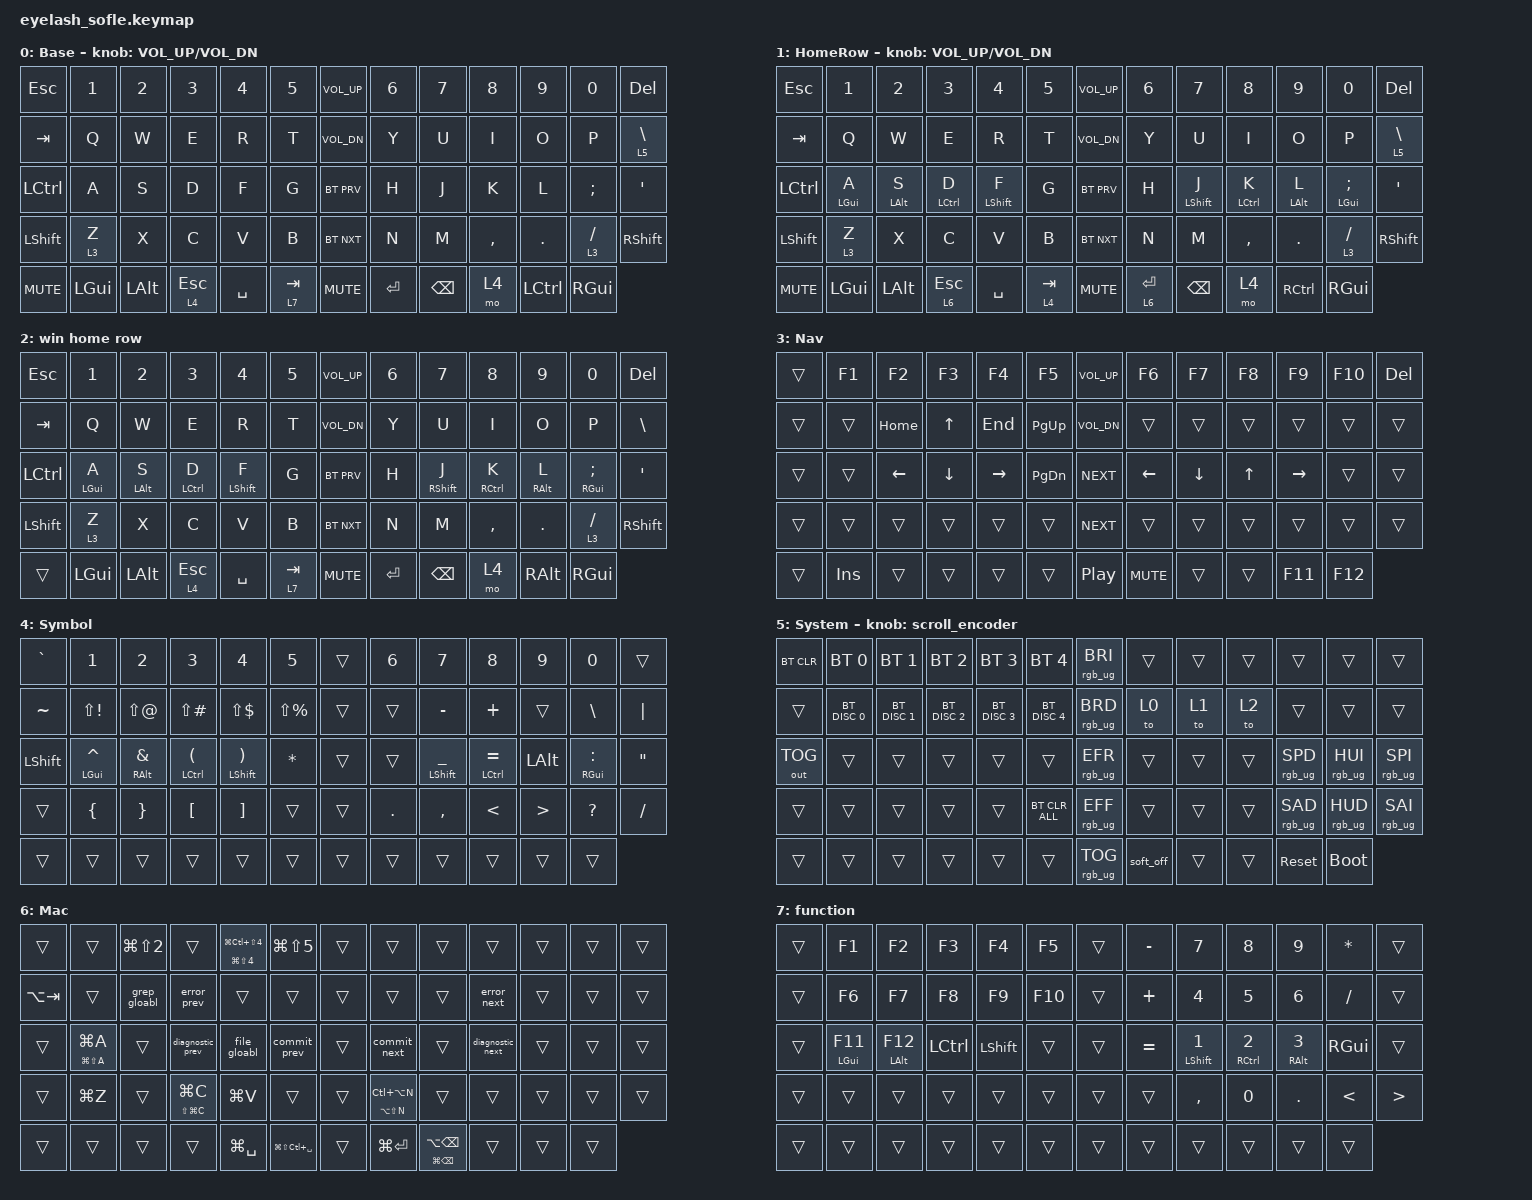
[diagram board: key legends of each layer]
#define ZMK_POINTING_DEFAULT_MOVE_VAL 1200  // 600
#define ZMK_POINTING_DEFAULT_SCRL_VAL 25   // 10

#include <input/processors.dtsi>
#include <zephyr/dt-bindings/input/input-event-codes.h>
#include <behaviors.dtsi>
#include <dt-bindings/zmk/bt.h>
#include <dt-bindings/zmk/keys.h>
#include <dt-bindings/zmk/outputs.h>
#include <dt-bindings/zmk/pointing.h>
#include <dt-bindings/zmk/rgb.h>

&mmv_input_listener { input-processors = <&zip_xy_scaler 2 1>; };

&msc_input_listener { input-processors = <&zip_scroll_scaler 2 1>; };

&msc {
    acceleration-exponent = <1>;      // 0
    time-to-max-speed-ms = <100>;       // 300
    delay-ms = <0>;                   // 0
};

&mmv {
    time-to-max-speed-ms = <500>;
    acceleration-exponent = <1>;
    trigger-period-ms = <16>;
};

&soft_off { hold-time-ms = <2000>; };

&mt { tapping-term-ms = <230>; };

/ {
    scroll_encoder: scroll_encoder {
        compatible = "zmk,behavior-sensor-rotate";
        #sensor-binding-cells = <0>;
        bindings = <&msc SCRL_DOWN>, <&msc SCRL_UP>;

        tap-ms = <100>;
    };

    hml: hml {
        compatible = "zmk,behavior-hold-tap";
        label = "HML";
        bindings = <&kp>, <&kp>;

        #binding-cells = <2>;
        tapping-term-ms = <210>;
        quick-tap-ms = <175>;
        require-prior-idle-ms = <150>;
        flavor = "balanced";
        hold-trigger-key-positions = <27 28 30 29>;
        hold-trigger-on-release;
    };

    hmr: hmr {
        compatible = "zmk,behavior-hold-tap";
        label = "HMR";
        bindings = <&kp>, <&kp>;

        #binding-cells = <2>;
        tapping-term-ms = <210>;
        quick-tap-ms = <175>;
        require-prior-idle-ms = <150>;
        flavor = "balanced";
        hold-trigger-on-release;
        hold-trigger-key-positions = <34 35 36 37>;
    };

    behaviors {
    };

    combos {
        compatible = "zmk,combos";

        caps {
            bindings = <&kp CLCK>;
            key-positions = <14 15 21>;
            layers = <0>;
        };

        lock_symbol {
            bindings = <&tog 4>;
            key-positions = <7 59>;
            layers = <1 4 0 2>;
        };

        sl-func {
            bindings = <&sl 7>;
            key-positions = <17 55>;
            layers = <0 1 2>;
        };

        tog-fn {
            bindings = <&tog 7>;
            key-positions = <8 59>;
            layers = <0 1 2 7>;
        };

        left-parenth {
            bindings = <&kp LEFT_PARENTHESIS>;
            key-positions = <29 30>;
            layers = <1 2>;
        };

        right-parenth {
            bindings = <&kp RIGHT_PARENTHESIS>;
            key-positions = <34 35>;
            layers = <1 2>;
        };

        left-bracket {
            bindings = <&kp LEFT_BRACKET>;
            key-positions = <42 43>;
            layers = <1 2>;
        };

        right-bracket {
            bindings = <&kp RIGHT_BRACKET>;
            key-positions = <47 48>;
            layers = <1 2>;
        };

        left-brace {
            bindings = <&kp LEFT_BRACE>;
            key-positions = <16 17>;
            layers = <1 2>;
        };

        right-brace {
            bindings = <&kp RIGHT_BRACE>;
            key-positions = <21 22>;
            layers = <1 2>;
        };

        minus {
            bindings = <&kp MINUS>;
            key-positions = <18 20>;
            layers = <1 2>;
        };

        plus {
            bindings = <&kp PLUS>;
            key-positions = <31 33>;
            layers = <1 2>;
        };

        underscore {
            bindings = <&kp UNDERSCORE>;
            key-positions = <17 21>;
            layers = <1 2>;
        };

        equal {
            bindings = <&kp EQUAL>;
            key-positions = <30 34>;
            layers = <1 2>;
        };
    };

    macros {
        commit_next: commit_next {
            compatible = "zmk,behavior-macro";
            #binding-cells = <0>;
            bindings = <&kp RBKT &kp H>;
            label = "COMMIT_NEXT";
        };

        commit_prev: commit_prev {
            compatible = "zmk,behavior-macro";
            #binding-cells = <0>;
            bindings = <&kp LBKT &kp H>;
            label = "COMMIT_PREV";
        };

        error_next: error_next {
            compatible = "zmk,behavior-macro";
            #binding-cells = <0>;
            bindings = <&kp RBKT &kp E>;
            label = "ERROR_NEXT";
        };

        error_prev: error_prev {
            compatible = "zmk,behavior-macro";
            #binding-cells = <0>;
            bindings = <&kp LBKT &kp E>;
            label = "ERROR_PREV";
        };

        diagnostic_next: diagnostic_next {
            compatible = "zmk,behavior-macro";
            #binding-cells = <0>;
            bindings = <&kp RBKT &kp D>;
            label = "DIAGNOSTIC_NEXT";
        };

        diagnostic_prev: diagnostic_prev {
            compatible = "zmk,behavior-macro";
            #binding-cells = <0>;
            bindings = <&kp LBKT &kp D>;
            label = "DIAGNOSTIC_PREV";
        };

        file_gloabl: file_gloabl {
            compatible = "zmk,behavior-macro";
            #binding-cells = <0>;
            bindings = <&kp SPACE &kp F &kp LS(F)>;
            label = "FILE_GLOABL";
        };

        grep_gloabl: grep_gloabl {
            compatible = "zmk,behavior-macro";
            #binding-cells = <0>;
            bindings = <&kp SPACE &kp S &kp LS(W)>;
            label = "GREP_GLOABL";
        };
    };

    keymap {
        compatible = "zmk,keymap";

        Base {
            bindings = <
&kp ESC           &kp N1        &kp N2        &kp N3        &kp N4     &kp N5       &kp C_VOLUME_UP  &kp N6     &kp N7         &kp N8     &kp N9            &kp N0         &kp DEL
&kp TAB           &kp Q         &kp W         &kp E         &kp R      &kp T        &kp C_VOL_DN     &kp Y      &kp U          &kp I      &kp O             &kp P          &lt 5 BSLH
&kp LEFT_CONTROL  &kp A         &kp S         &kp D         &kp F      &kp G        &bt BT_PRV       &kp H      &kp J          &kp K      &kp L             &kp SEMI       &kp APOS
&kp LSHFT         &lt 3 Z       &kp X         &kp C         &kp V      &kp B        &bt BT_NXT       &kp N      &kp M          &kp COMMA  &kp DOT           &lt 3 FSLH     &kp RIGHT_SHIFT
&kp C_MUTE        &kp LEFT_GUI  &kp LEFT_ALT  &lt 4 ESCAPE  &kp SPACE  &lt 7 TAB    &kp C_MUTE       &kp ENTER  &kp BACKSPACE  &mo 4      &kp LEFT_CONTROL  &kp RIGHT_GUI
            >;

            sensor-bindings = <&inc_dec_kp C_VOLUME_UP C_VOL_DN>;
            display-name = "Base";
        };

        Home_row {
            display-name = "home row";
            bindings = <
&kp ESC           &kp N1           &kp N2           &kp N3               &kp N4             &kp N5       &kp C_VOLUME_UP  &kp N6       &kp N7             &kp N8               &kp N9             &kp N0              &kp DEL
&kp TAB           &kp Q            &kp W            &kp E                &kp R              &kp T        &kp C_VOL_DN     &kp Y        &kp U              &kp I                &kp O              &kp P               &lt 5 BSLH
&kp LEFT_CONTROL  &hml LEFT_GUI A  &hml LEFT_ALT S  &hml LEFT_CONTROL D  &hml LEFT_SHIFT F  &kp G        &bt BT_PRV       &kp H        &hmr LEFT_SHIFT J  &hmr LEFT_CONTROL K  &hmr LEFT_ALT L    &hmr LEFT_GUI SEMI  &kp APOS
&kp LSHFT         &lt 3 Z          &kp X            &kp C                &kp V              &kp B        &bt BT_NXT       &kp N        &kp M              &kp COMMA            &kp DOT            &lt 3 FSLH          &kp RIGHT_SHIFT
&kp C_MUTE        &kp LEFT_GUI     &kp LEFT_ALT     &lt 6 ESCAPE         &kp SPACE          &lt 4 TAB    &kp C_MUTE       &lt 6 ENTER  &kp BACKSPACE      &mo 4                &kp RIGHT_CONTROL  &kp RIGHT_GUI
            >;

            sensor-bindings = <&inc_dec_kp C_VOLUME_UP C_VOL_DN>;
            display-name = "HomeRow";
        };

        Win_hm {
            bindings = <
&kp ESC    &kp N1           &kp N2           &kp N3               &kp N4             &kp N5       &kp C_VOLUME_UP  &kp N6     &kp N7              &kp N8                &kp N9            &kp N0               &kp DELETE
&kp TAB    &kp Q            &kp W            &kp E                &kp R              &kp T        &kp C_VOL_DN     &kp Y      &kp U               &kp I                 &kp O             &kp P                &kp BSLH
&kp LCTRL  &hml LEFT_GUI A  &hml LEFT_ALT S  &hml LEFT_CONTROL D  &hml LEFT_SHIFT F  &kp G        &bt BT_PRV       &kp H      &hmr RIGHT_SHIFT J  &hmr RIGHT_CONTROL K  &hmr RIGHT_ALT L  &hmr RIGHT_GUI SEMI  &kp SQT
&kp LSHFT  &lt 3 Z          &kp X            &kp C                &kp V              &kp B        &bt BT_NXT       &kp N      &kp M               &kp COMMA             &kp DOT           &lt 3 SLASH          &kp RSHFT
&trans     &kp LGUI         &kp LALT         &lt 4 ESCAPE         &kp SPACE          &lt 7 TAB    &kp C_MUTE       &kp ENTER  &kp BSPC            &mo 4                 &kp RALT          &kp RGUI
            >;

            label = "win home row";
        };

        Nav {
            bindings = <
&trans  &kp F1      &kp F2    &kp F3    &kp F4     &kp F5           &kp C_VOLUME_UP   &kp F6      &kp F7    &kp F8  &kp F9     &kp F10  &kp DELETE
&trans  &trans      &kp HOME  &kp UP    &kp END    &kp PAGE_UP      &kp C_VOL_DN      &trans      &trans    &trans  &trans     &trans   &trans
&trans  &trans      &kp LEFT  &kp DOWN  &kp RIGHT  &kp PAGE_DOWN    &kp C_NEXT        &kp LEFT    &kp DOWN  &kp UP  &kp RIGHT  &trans   &trans
&trans  &trans      &trans    &trans    &trans     &trans           &kp C_NEXT        &trans      &trans    &trans  &trans     &trans   &trans
&trans  &kp INSERT  &trans    &trans    &trans     &trans           &kp C_PLAY_PAUSE  &kp C_MUTE  &trans    &trans  &kp F11    &kp F12
            >;

            display-name = "Nav";
        };

        Symbol {
            bindings = <
&kp GRAVE       &kp N1               &kp N2               &kp N3                  &kp N4                &kp N5           &trans  &kp N6      &kp N7            &kp N8            &kp N9            &kp N0                &trans
&kp TILDE       &kp LS(EXCL)         &kp LS(AT)           &kp LS(POUND)           &kp LS(DLLR)          &kp LS(PRCNT)    &trans  &trans      &kp MINUS         &kp PLUS          &trans            &kp BACKSLASH         &kp PIPE
&kp LEFT_SHIFT  &hml LEFT_GUI CARET  &hml RIGHT_ALT AMPS  &hml LEFT_CONTROL LPAR  &hml LEFT_SHIFT RPAR  &kp ASTRK        &trans  &trans      &hmr LSHFT UNDER  &hmr LCTRL EQUAL  &kp LALT          &hmr RIGHT_GUI COLON  &kp DOUBLE_QUOTES
&trans          &kp LEFT_BRACE       &kp RIGHT_BRACE      &kp LBKT                &kp RBKT              &trans           &trans  &kp PERIOD  &kp COMMA         &kp LESS_THAN     &kp GREATER_THAN  &kp QUESTION          &kp SLASH
&trans          &trans               &trans               &trans                  &trans                &trans           &trans  &trans      &trans            &trans            &trans            &trans
            >;

            display-name = "Symbol";
        };

        System {
            bindings = <
&bt BT_CLR    &bt BT_SEL 0   &bt BT_SEL 1   &bt BT_SEL 2   &bt BT_SEL 3   &bt BT_SEL 4      &rgb_ug RGB_BRI  &trans     &trans  &trans  &trans           &trans           &trans
&trans        &bt BT_DISC 0  &bt BT_DISC 1  &bt BT_DISC 2  &bt BT_DISC 3  &bt BT_DISC 4     &rgb_ug RGB_BRD  &to 0      &to 1   &to 2   &trans           &trans           &trans
&out OUT_TOG  &trans         &trans         &trans         &trans         &trans            &rgb_ug RGB_EFR  &trans     &trans  &trans  &rgb_ug RGB_SPD  &rgb_ug RGB_HUI  &rgb_ug RGB_SPI
&trans        &trans         &trans         &trans         &trans         &bt BT_CLR_ALL    &rgb_ug RGB_EFF  &trans     &trans  &trans  &rgb_ug RGB_SAD  &rgb_ug RGB_HUD  &rgb_ug RGB_SAI
&trans        &trans         &trans         &trans         &trans         &trans            &rgb_ug RGB_TOG  &soft_off  &trans  &trans  &sys_reset       &bootloader
            >;

            sensor-bindings = <&scroll_encoder>;
            display-name = "System";
        };

        Mac_shortcut {
            bindings = <
&trans       &trans               &kp LG(LS(N2))  &trans               &mt LG(LS(N4)) LG(LC(LS(N4)))  &kp LG(LS(N5))           &trans  &trans                   &trans                           &trans            &trans  &trans  &trans
&kp LA(TAB)  &trans               &grep_gloabl    &error_prev          &trans                         &trans                   &trans  &trans                   &trans                           &error_next       &trans  &trans  &trans
&trans       &mt LG(LS(A)) LG(A)  &trans          &diagnostic_prev     &file_gloabl                   &commit_prev             &trans  &commit_next             &trans                           &diagnostic_next  &trans  &trans  &trans
&trans       &kp LG(Z)            &trans          &mt LS(LG(C)) LG(C)  &kp LG(V)                      &trans                   &trans  &mt LA(LS(N)) LC(LA(N))  &trans                           &trans            &trans  &trans  &trans
&trans       &trans               &trans          &trans               &kp LG(SPACE)                  &kp LG(LS(LC(SPACE)))    &trans  &kp LG(ENTER)            &mt LG(BACKSPACE) LA(BACKSPACE)  &trans            &trans  &trans
            >;

            display-name = "Mac";
        };

        Func {
            bindings = <
&trans  &kp F1             &kp F2             &kp F3            &kp F4          &kp F5     &trans  &kp MINUS  &kp N7              &kp N8                 &kp N9             &kp ASTRK      &trans
&trans  &kp F6             &kp F7             &kp F8            &kp F9          &kp F10    &trans  &kp PLUS   &kp N4              &kp N5                 &kp N6             &kp SLASH      &trans
&trans  &hml LEFT_GUI F11  &hml LEFT_ALT F12  &kp LEFT_CONTROL  &kp LEFT_SHIFT  &trans     &trans  &kp EQUAL  &hmr LEFT_SHIFT N1  &hmr RIGHT_CONTROL N2  &hmr RIGHT_ALT N3  &kp RGUI       &trans
&trans  &trans             &trans             &trans            &trans          &trans     &trans  &trans     &kp COMMA           &kp N0                 &kp DOT            &kp LESS_THAN  &kp GREATER_THAN
&trans  &trans             &trans             &trans            &trans          &trans     &trans  &trans     &trans              &trans                 &trans             &trans
            >;

            label = "function";
        };
    };

    conditional_layers {
        compatible = "zmk,conditional-layers";

        system_layer {
            if-layers = <4 3>;
            then-layer = <5>;
        };
    };
};
